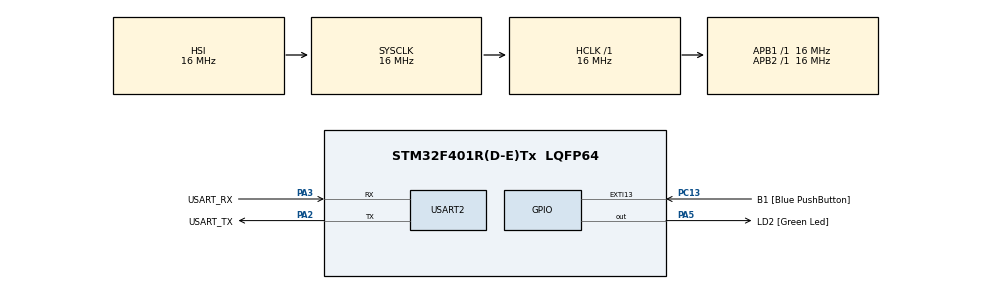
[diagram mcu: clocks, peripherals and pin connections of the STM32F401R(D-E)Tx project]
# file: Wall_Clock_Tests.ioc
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Mcu.Family=STM32F4
Mcu.Name=STM32F401R(D-E)Tx
Mcu.Package=LQFP64
NVIC.PriorityGroup=NVIC_PRIORITYGROUP_4
NVIC.TIM5_IRQn=true\:0\:0\:false\:false\:true\:true\:true\:true
PA13.GPIO_Label=TMS
PA13.Mode=Trace_Asynchronous_SW
PA13.Signal=SYS_JTMS-SWDIO
PA14.GPIO_Label=TCK
PA14.Mode=Trace_Asynchronous_SW
PA14.Signal=SYS_JTCK-SWCLK
PA2.GPIO_Label=USART_TX
PA2.GPIO_Mode=GPIO_MODE_AF_PP
PA2.GPIO_PuPd=GPIO_NOPULL
PA2.GPIO_Speed=GPIO_SPEED_FREQ_LOW
PA2.Mode=Asynchronous
PA2.Signal=USART2_TX
PA3.GPIO_Label=USART_RX
PA3.GPIO_Mode=GPIO_MODE_AF_PP
PA3.GPIO_PuPd=GPIO_NOPULL
PA3.GPIO_Speed=GPIO_SPEED_FREQ_LOW
PA3.Mode=Asynchronous
PA3.Signal=USART2_RX
PA5.GPIO_Label=LD2 [Green Led]
PA5.GPIO_Mode=GPIO_MODE_OUTPUT_PP
PA5.GPIO_PuPd=GPIO_NOPULL
PA5.GPIO_Speed=GPIO_SPEED_FREQ_LOW
PA5.Signal=GPIO_Output
PB3.GPIO_Label=SWO
PB3.Mode=Trace_Asynchronous_SW
PB3.Signal=SYS_JTDO-SWO
PC13-ANTI_TAMP.GPIO_Label=B1 [Blue PushButton]
PC13-ANTI_TAMP.GPIO_ModeDefaultEXTI=GPIO_MODE_IT_FALLING
PC13-ANTI_TAMP.GPIO_PuPd=GPIO_NOPULL
PC13-ANTI_TAMP.Signal=GPXTI13
PC14-OSC32_IN.Mode=LSE-External-Oscillator
PC14-OSC32_IN.Signal=RCC_OSC32_IN
PC15-OSC32_OUT.Mode=LSE-External-Oscillator
PC15-OSC32_OUT.Signal=RCC_OSC32_OUT
PH0\ -\ OSC_IN.Mode=HSE-External-Clock-Source
PH0\ -\ OSC_IN.Signal=RCC_OSC_IN
PH1\ -\ OSC_OUT.Mode=HSE-External-Clock-Source
PH1\ -\ OSC_OUT.Signal=RCC_OSC_OUT
ProjectManager.HeapSize=0x200
ProjectManager.StackSize=0x400
ProjectManager.TargetToolchain=STM32CubeIDE
RCC.48MHZClocksFreq_Value=48000000
RCC.AHBFreq_Value=16000000
RCC.APB1Freq_Value=16000000
RCC.APB1TimFreq_Value=16000000
RCC.APB2Freq_Value=16000000
RCC.APB2TimFreq_Value=16000000
RCC.CortexFreq_Value=16000000
RCC.HCLKFreq_Value=16000000
RCC.HSE_VALUE=8000000
RCC.HSI_VALUE=16000000
RCC.PLLN=336
RCC.PLLP=RCC_PLLP_DIV4
RCC.PLLQ=7
RCC.SYSCLKFreq_VALUE=16000000
RCC.VCOOutputFreq_Value=336000000
TIM5.AutoReloadPreload=TIM_AUTORELOAD_PRELOAD_ENABLE
TIM5.Period=1000-1
TIM5.Prescaler=16000-1
USART2.VirtualMode=VM_ASYNC
VP_TIM5_VS_ClockSourceINT.Mode=Internal
board=NUCLEO-F401RE

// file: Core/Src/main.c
/* USER CODE BEGIN Header */
/**
  ******************************************************************************
  * @file           : main.c
  * @brief          : Main program body
  ******************************************************************************
  * @attention
  *
  * Copyright (c) 2026 STMicroelectronics.
  * All rights reserved.
  *
  * This software is licensed under terms that can be found in the LICENSE file
  * in the root directory of this software component.
  * If no LICENSE file comes with this software, it is provided AS-IS.
  *
  ******************************************************************************
  */
/* USER CODE END Header */
#include "main.h"

/* USER CODE BEGIN Includes */
#include <stdio.h>
#include <string.h>
/* USER CODE END Includes */

TIM_HandleTypeDef htim5;

UART_HandleTypeDef huart2;

/* USER CODE BEGIN PV */
volatile uint8_t clock_hours = 0;
volatile uint8_t clock_mins = 0;
volatile uint8_t clock_secs = 0;
volatile uint8_t wall_clock_hr_update_flag = 0;
uint8_t txd_msg_buffer[64] = {0};
/* USER CODE END PV */

void SystemClock_Config(void);
static void MX_GPIO_Init(void);
static void MX_USART2_UART_Init(void);
static void MX_TIM5_Init(void);

int main(void)
{

  /* MCU Configuration--------------------------------------------------------*/

  /* Reset of all peripherals, Initializes the Flash interface and the Systick. */
  HAL_Init();

  /* Configure the system clock */
  SystemClock_Config();

  /* Initialize all configured peripherals */
  MX_GPIO_Init();
  MX_USART2_UART_Init();
  MX_TIM5_Init();
  /* USER CODE BEGIN 2 */
  // start up TIMER 5 (for one second interrupts)
  HAL_TIM_Base_Start_IT(&htim5);
  clock_hours = 0;
  clock_mins = 0;
  clock_secs = 0;
  /* USER CODE END 2 */

  /* Infinite loop */
  /* USER CODE BEGIN WHILE */
  while (1)
  {
	  if(wall_clock_hr_update_flag == 1)
	  {
		  wall_clock_hr_update_flag = 0;
		    sprintf((char*)txd_msg_buffer, "CLOCK TIME (REAL)\r\nHOURS   MINS   SECS");
			HAL_UART_Transmit(&huart2, txd_msg_buffer, strlen((char*)txd_msg_buffer), 100);
			sprintf((char*)txd_msg_buffer, "  %2u  :  %2u  :  %2u\r\n\r\n", (unsigned)clock_hours, (unsigned)clock_mins, (unsigned)clock_secs);
			HAL_UART_Transmit(&huart2, txd_msg_buffer, strlen((char*)txd_msg_buffer), 100);
	  }
    /* USER CODE END WHILE */

  }
}

void SystemClock_Config(void)
{
  RCC_OscInitTypeDef RCC_OscInitStruct = {0};
  RCC_ClkInitTypeDef RCC_ClkInitStruct = {0};

  /** Configure the main internal regulator output voltage
  */
  __HAL_RCC_PWR_CLK_ENABLE();
  __HAL_PWR_VOLTAGESCALING_CONFIG(PWR_REGULATOR_VOLTAGE_SCALE2);

  /** Initializes the RCC Oscillators according to the specified parameters
  * in the RCC_OscInitTypeDef structure.
  */
  RCC_OscInitStruct.OscillatorType = RCC_OSCILLATORTYPE_HSI;
  RCC_OscInitStruct.HSIState = RCC_HSI_ON;
  RCC_OscInitStruct.HSICalibrationValue = RCC_HSICALIBRATION_DEFAULT;
  RCC_OscInitStruct.PLL.PLLState = RCC_PLL_NONE;
  if (HAL_RCC_OscConfig(&RCC_OscInitStruct) != HAL_OK)
  {
    Error_Handler();
  }

  /** Initializes the CPU, AHB and APB buses clocks
  */
  RCC_ClkInitStruct.ClockType = RCC_CLOCKTYPE_HCLK|RCC_CLOCKTYPE_SYSCLK
                              |RCC_CLOCKTYPE_PCLK1|RCC_CLOCKTYPE_PCLK2;
  RCC_ClkInitStruct.SYSCLKSource = RCC_SYSCLKSOURCE_HSI;
  RCC_ClkInitStruct.AHBCLKDivider = RCC_SYSCLK_DIV1;
  RCC_ClkInitStruct.APB1CLKDivider = RCC_HCLK_DIV1;
  RCC_ClkInitStruct.APB2CLKDivider = RCC_HCLK_DIV1;

  if (HAL_RCC_ClockConfig(&RCC_ClkInitStruct, FLASH_LATENCY_0) != HAL_OK)
  {
    Error_Handler();
  }
}

static void MX_TIM5_Init(void)
{

  TIM_ClockConfigTypeDef sClockSourceConfig = {0};
  TIM_MasterConfigTypeDef sMasterConfig = {0};

  htim5.Instance = TIM5;
  htim5.Init.Prescaler = 16000-1;
  htim5.Init.CounterMode = TIM_COUNTERMODE_UP;
  htim5.Init.Period = 1000-1;
  htim5.Init.ClockDivision = TIM_CLOCKDIVISION_DIV1;
  htim5.Init.AutoReloadPreload = TIM_AUTORELOAD_PRELOAD_ENABLE;
  if (HAL_TIM_Base_Init(&htim5) != HAL_OK)
  {
    Error_Handler();
  }
  sClockSourceConfig.ClockSource = TIM_CLOCKSOURCE_INTERNAL;
  if (HAL_TIM_ConfigClockSource(&htim5, &sClockSourceConfig) != HAL_OK)
  {
    Error_Handler();
  }
  sMasterConfig.MasterOutputTrigger = TIM_TRGO_RESET;
  sMasterConfig.MasterSlaveMode = TIM_MASTERSLAVEMODE_DISABLE;
  if (HAL_TIMEx_MasterConfigSynchronization(&htim5, &sMasterConfig) != HAL_OK)
  {
    Error_Handler();
  }

}

static void MX_USART2_UART_Init(void)
{

  huart2.Instance = USART2;
  huart2.Init.BaudRate = 115200;
  huart2.Init.WordLength = UART_WORDLENGTH_8B;
  huart2.Init.StopBits = UART_STOPBITS_1;
  huart2.Init.Parity = UART_PARITY_NONE;
  huart2.Init.Mode = UART_MODE_TX_RX;
  huart2.Init.HwFlowCtl = UART_HWCONTROL_NONE;
  huart2.Init.OverSampling = UART_OVERSAMPLING_16;
  if (HAL_UART_Init(&huart2) != HAL_OK)
  {
    Error_Handler();
  }

}

static void MX_GPIO_Init(void)
{
  GPIO_InitTypeDef GPIO_InitStruct = {0};

  /* GPIO Ports Clock Enable */
  __HAL_RCC_GPIOC_CLK_ENABLE();
  __HAL_RCC_GPIOH_CLK_ENABLE();
  __HAL_RCC_GPIOA_CLK_ENABLE();
  __HAL_RCC_GPIOB_CLK_ENABLE();

  /*Configure GPIO pin Output Level */
  HAL_GPIO_WritePin(LD2_GPIO_Port, LD2_Pin, GPIO_PIN_RESET);

  /*Configure GPIO pin : B1_Pin */
  GPIO_InitStruct.Pin = B1_Pin;
  GPIO_InitStruct.Mode = GPIO_MODE_IT_FALLING;
  GPIO_InitStruct.Pull = GPIO_NOPULL;
  HAL_GPIO_Init(B1_GPIO_Port, &GPIO_InitStruct);

  /*Configure GPIO pin : LD2_Pin */
  GPIO_InitStruct.Pin = LD2_Pin;
  GPIO_InitStruct.Mode = GPIO_MODE_OUTPUT_PP;
  GPIO_InitStruct.Pull = GPIO_NOPULL;
  GPIO_InitStruct.Speed = GPIO_SPEED_FREQ_LOW;
  HAL_GPIO_Init(LD2_GPIO_Port, &GPIO_InitStruct);

}

/* USER CODE BEGIN 4 */
void HAL_TIM_PeriodElapsedCallback(TIM_HandleTypeDef *htim){
	if((htim->Instance == TIM5))
	{
		wall_clock_hr_update_flag = 0; // screen updates occur hourly on the half-hour
		clock_secs += 1;
		if((clock_secs == 60))
		{
			clock_mins += 1;
			clock_secs = 0;
			if((clock_mins == 60 ))
			{
				clock_hours += 1;
				clock_mins = 0;
			}
		}
		wall_clock_hr_update_flag = 1; // screen updates occur hourly on the hour
	}
}
/* USER CODE END 4 */

void Error_Handler(void)
{
  __disable_irq();
  while (1)
  {
  }
}
